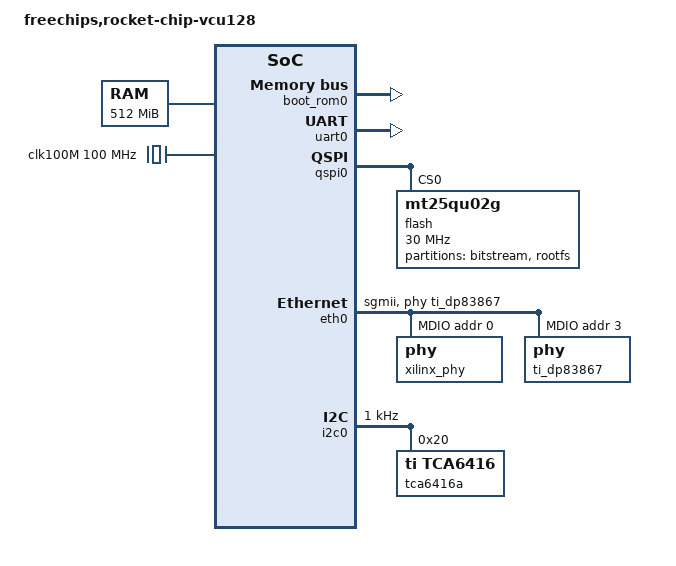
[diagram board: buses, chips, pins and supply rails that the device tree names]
/dts-v1/;

#include <dt-bindings/gpio/gpio.h>

/ {
	#address-cells = <2>;
	#size-cells = <2>;
	compatible = "freechips,rocket-chip-dev";
	model = "freechips,rocket-chip-vcu128";

	chosen {
		bootargs = "earlycon=sbi console=ttyS0,115200n8";
		stdout-path = "/soc/serial@60200000";
	};

	aliases {
		serial0 = &uart0;
		spi0 = &qspi0;
		eth0 = &eth0;
		i2c0 = &i2c0;
	};

	cpus {
		#address-cells = <1>;
		#size-cells = <0>;
		timebase-frequency = <500000>;

		cpu0: cpu@0 {
			clock-frequency = <50000000>;
			compatible = "sifive,rocket0", "riscv";
			d-cache-block-size = <64>;
			d-cache-sets = <64>;
			d-cache-size = <16384>;
			d-tlb-sets = <1>;
			d-tlb-size = <32>;
			device_type = "cpu";
			hardware-exec-breakpoint-count = <1>;
			i-cache-block-size = <64>;
			i-cache-sets = <64>;
			i-cache-size = <16384>;
			i-tlb-sets = <1>;
			i-tlb-size = <32>;
			mmu-type = "riscv,sv39";
			next-level-cache = <&ram0>;
			reg = <0x0>;
			riscv,isa = "rv64imafdc";
			riscv,pmpregions = <8>;
			status = "okay";
			timebase-frequency = <1000000>;
			tlb-split;
			cpu0_intc: interrupt-controller {
				#interrupt-cells = <1>;
				compatible = "riscv,cpu-intc";
				interrupt-controller;
			};
		};
	};
	ram0: memory@80000000 {
		device_type = "memory";
		reg = <0x0 0x80000000 0x0 0x20000000>;
	};
	clocks {
		axi_clk: axi_clk {
			#clock-cells = <0>;
			compatible = "fixed-clock";
			clock-frequency = <100000000>;
		};
	};
	soc {
		#address-cells = <2>;
		#size-cells = <2>;
		compatible = "freechips,rocketchip-unknown-soc", "simple-bus";
		ranges;

		clk100M: clk100M {
			#clock-cells = <0>;
			compatible = "fixed-clock";
			clock-frequency = <100000000>;
		};
		clint0: clint@2000000 {
			compatible = "riscv,clint0";
			interrupts-extended = <&cpu0_intc 3 &cpu0_intc 7>;
			reg = <0x0 0x2000000 0x0 0x10000>;
			reg-names = "control";
		};
		error0: error-device@3000 {
			compatible = "sifive,error0";
			reg = <0x0 0x3000 0x0 0x1000>;
		};
		plic0: interrupt-controller@c000000 {
			#interrupt-cells = <1>;
			compatible = "riscv,plic0";
			interrupt-controller;
			interrupts-extended = <&cpu0_intc 11 &cpu0_intc 9>;
			reg = <0x0 0xc000000 0x0 0x4000000>;
			reg-names = "control";
			riscv,max-priority = <3>;
			riscv,ndev = <2>;
		};
		mmio0: mmio-port-axi4@60000000 {
			#address-cells = <1>;
			#size-cells = <1>;
			compatible = "simple-bus";
			ranges = <0x0 0x60000000 0x60000000 0x20000000>;
		};
		boot_rom0: rom@10000 {
			compatible = "sifive,rom0";
			reg = <0x0 0x10000 0x0 0x10000>;
			reg-names = "mem";
		};
		pbus0: subsystem_pbus_clock {
			#clock-cells = <0>;
			clock-frequency = <100000000>;
			clock-output-names = "subsystem_pbus_clock";
			compatible = "fixed-clock";
		};
		uart0: serial@60200000 {
			compatible = "ns16550a";
			reg = <0x0 0x60200000 0x0 0x1000>;
			reg-shift = <2>;
			reg-offset = <0x1000>;
			clock-frequency = <100000000>;
			interrupts-extended = <&plic0 1>;
		};
		qspi0: spi@60100000 {
			compatible = "xlnx,xps-spi-2.00.a";
			reg = <0x0 0x60100000 0x0 0x1000>;
			fifo-size = <256>;
			#address-cells = <1>;
			#size-cells = <0>;
			interrupts-extended = <&plic0 2>;
			xlnx,num-ss-bits = <0x1>;

			// 256MB
			flash@0 {
				compatible = "mt25qu02g", "jedec,spi-nor";
				reg = <0>;
				spi-max-frequency = <30000000>;

				partitions {
					compatible = "fixed-partitions";
					#address-cells = <1>;
					#size-cells = <1>;

					partition@0 {
						label = "bitstream";
						reg = <0x0 0x100000>;
					};

					// 1MB offset
					partition@100000 {
						label = "rootfs";
						reg = <0x100000 0x8000000>;
					};
				};
			};
		};
		eth_dma0: eth_dma@60300000 {
			reg = <0x0 0x60300000 0x0 0x10000>;
			interrupts-extended = <&plic0 5 &plic0 4>; // TX, RX
		};
		eth0: eth0@60400000 {
			compatible = "xlnx,axi-ethernet-1.00.a";
			reg = <0x0 0x60400000 0x0 0x10000>;
			mac-address = [00 11 22 33 44 55];
			device_type = "network";
			axistream-connected = <&eth_dma0>;
			phy-handle = <&ti_dp83867>;
			phy-mode = "sgmii";
			interrupts-extended = <&plic0 3>;
			clock-names = "s_axi_lite_clk", "axis_clk";
			clocks = <&axi_clk>, <&axi_clk>;

			mdio: mdio {
				#address-cells = <1>;
				#size-cells = <0>;
				// reset-gpios = <&tca6416a 6 GPIO_ACTIVE_LOW>;
				// reset-delay-us = <2>;

				// PCS/PMA PHY
				xilinx_phy: phy@0 {
					#phy-cells = <1>;
					device_type = "ethernet-phy";
					reg = <0>;
				};

				// External PHY
				ti_dp83867: phy@3 {
					#phy-cells = <1>;
					device_type = "ethernet-phy";
					reg = <3>;
					ti,sgmii-ref-clock-output-enable;
				};
			};
		};
		i2c0: i2c@60500000 {
			compatible = "xlnx,xps-iic-2.00.a";
			reg = <0x0 0x60500000 0x0 0x10000>;
			#size-cells = <0>;
			#address-cells = <1>;
			clock-frequency = <1000>;
			interrupts-extended = <&plic0 6>;
			clocks = <&clk100M>;

			// GPIO Expander
			tca6416a: gpio@20 {
				compatible = "ti,tca6416";
				reg = <0x20>;
				#gpio-cells = <2>;
				gpio-controller;
			};
		};
	};
};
